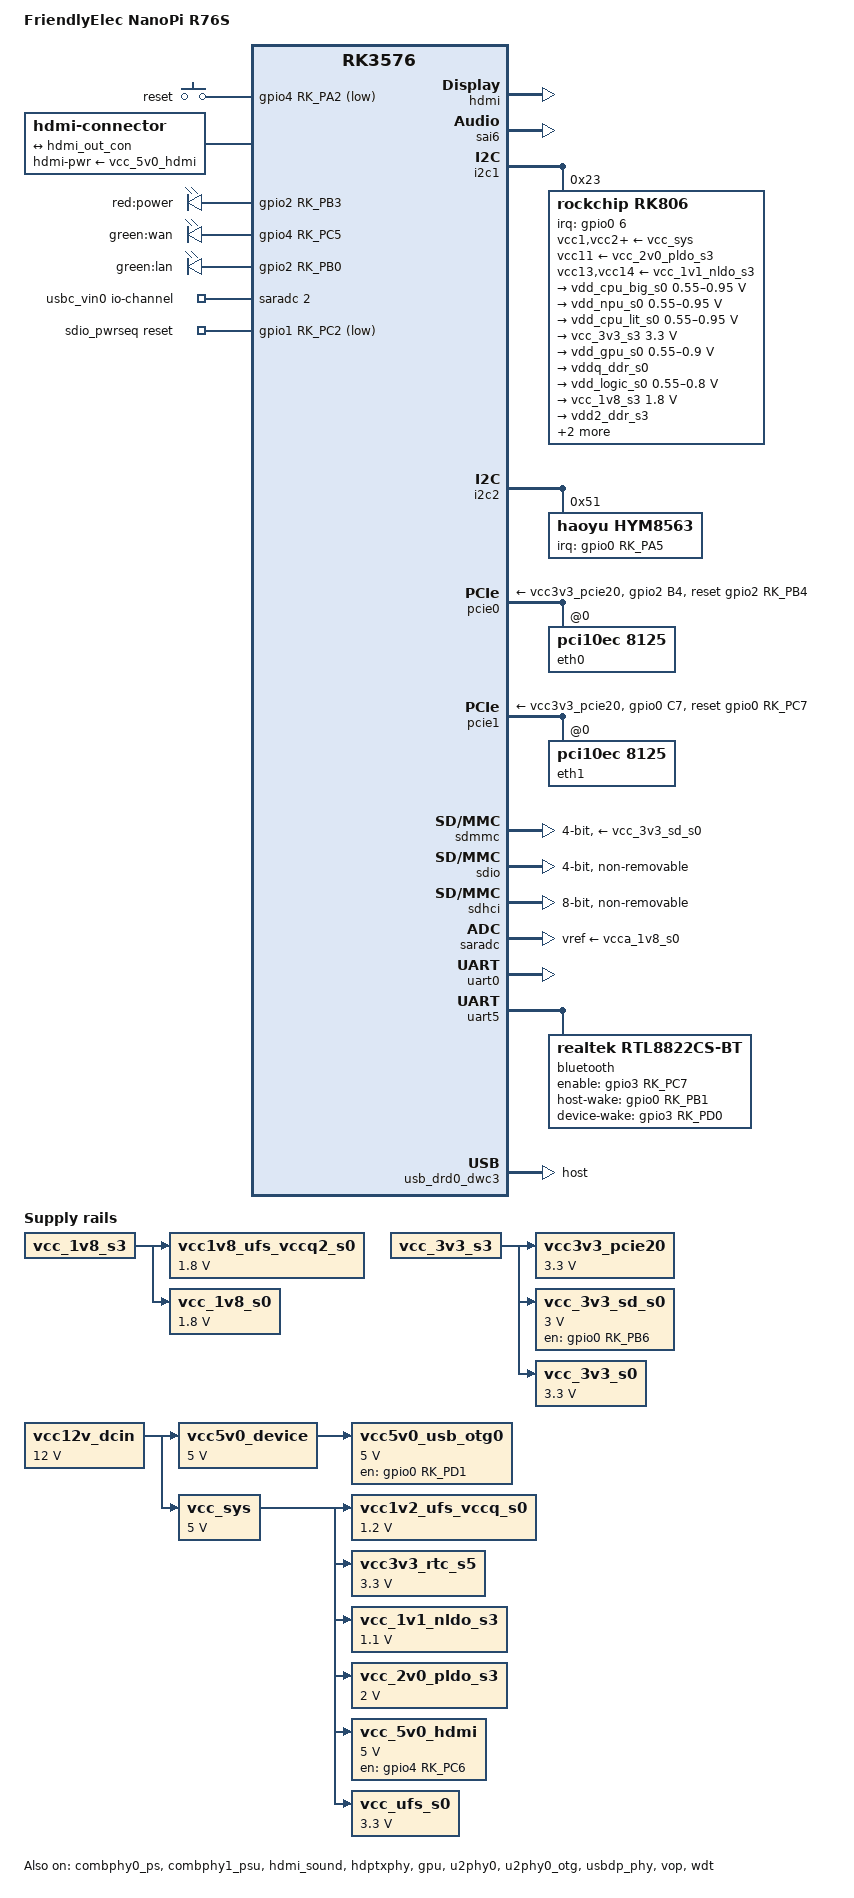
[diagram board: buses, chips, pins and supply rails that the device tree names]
// SPDX-License-Identifier: (GPL-2.0+ OR MIT)

/dts-v1/;

#include <dt-bindings/gpio/gpio.h>
#include <dt-bindings/input/input.h>
#include <dt-bindings/leds/common.h>
#include <dt-bindings/pinctrl/rockchip.h>
#include <dt-bindings/soc/rockchip,vop2.h>
#include "rk3576.dtsi"

/ {
	model = "FriendlyElec NanoPi R76S";
	compatible = "friendlyarm,nanopi-r76s", "rockchip,rk3576";

	aliases {
		mmc0 = &sdhci;
		mmc1 = &sdmmc;

		led-boot = &sys_led;
		led-failsafe = &sys_led;
		led-running = &sys_led;
		led-upgrade = &sys_led;
	};

	chosen: chosen {
		stdout-path = "serial0:1500000n8";
	};

	gpio_keys: gpio-keys {
		compatible = "gpio-keys";
		pinctrl-names = "default";
		pinctrl-0 = <&reset_button_pin>;

		button@1 {
			debounce-interval = <50>;
			gpios = <&gpio4 RK_PA2 GPIO_ACTIVE_LOW>;
			label = "reset";
			linux,code = <KEY_RESTART>;
			wakeup-source;
		};
	};

	hdmi-con {
		compatible = "hdmi-connector";
		hdmi-pwr-supply = <&vcc_5v0_hdmi>;
		type = "a";

		port {
			hdmi_con_in: endpoint {
				remote-endpoint = <&hdmi_out_con>;
			};
		};
	};

	gpio-leds {
		compatible = "gpio-leds";

		sys_led: led-sys {
			gpios = <&gpio2 RK_PB3 GPIO_ACTIVE_HIGH>;
			label = "red:power";
			linux,default-trigger = "heartbeat";
			pinctrl-names = "default";
			pinctrl-0 = <&sys_led_pin>;
		};

		wan_led: led-wan {
			gpios = <&gpio4 RK_PC5 GPIO_ACTIVE_HIGH>;
			label = "green:wan";
			pinctrl-names = "default";
			pinctrl-0 = <&wan_led_pin>;
		};

		lan_led: led-lan {
			gpios = <&gpio2 RK_PB0 GPIO_ACTIVE_HIGH>;
			label = "green:lan";
			pinctrl-names = "default";
			pinctrl-0 = <&lan_led_pin>;
		};
	};

	usbc_vin0 {
		compatible = "iio-hwmon";
		io-channels = <&saradc 2>;
	};

	vcc5v0_usb_otg0: regulator-vcc5v0-usb-otg0 {
		compatible = "regulator-fixed";
		regulator-name = "vcc5v0_usb_otg0";
		regulator-min-microvolt = <5000000>;
		regulator-max-microvolt = <5000000>;
		enable-active-high;
		gpio = <&gpio0 RK_PD1 GPIO_ACTIVE_HIGH>;
		pinctrl-names = "default";
		pinctrl-0 = <&usb_otg0_pwren_h>;
		vin-supply = <&vcc5v0_device>;
	};

	vcc12v_dcin: regulator-vcc12v-dcin {
		compatible = "regulator-fixed";
		regulator-name = "vcc12v_dcin";
		regulator-always-on;
		regulator-boot-on;
		regulator-min-microvolt = <12000000>;
		regulator-max-microvolt = <12000000>;
	};

	vcc1v2_ufs_vccq_s0: regulator-vcc1v2-ufs-vccq-s0 {
		compatible = "regulator-fixed";
		regulator-name = "vcc1v2_ufs_vccq_s0";
		regulator-boot-on;
		regulator-always-on;
		regulator-min-microvolt = <1200000>;
		regulator-max-microvolt = <1200000>;
		vin-supply = <&vcc_sys>;
	};

	vcc1v8_ufs_vccq2_s0: regulator-vcc1v8-ufs-vccq2-s0 {
		compatible = "regulator-fixed";
		regulator-name = "vcc1v8_ufs_vccq2_s0";
		regulator-boot-on;
		regulator-always-on;
		regulator-min-microvolt = <1800000>;
		regulator-max-microvolt = <1800000>;
		vin-supply = <&vcc_1v8_s3>;
	};

	vcc3v3_pcie20: vcc3v3-pcie20 {
		compatible = "regulator-fixed";
		regulator-name = "vcc3v3_pcie20";
		regulator-always-on;
		regulator-boot-on;
		regulator-min-microvolt = <3300000>;
		regulator-max-microvolt = <3300000>;
		vin-supply = <&vcc_3v3_s3>;
	};

	sdio_pwrseq: sdio-pwrseq {
		compatible = "mmc-pwrseq-simple";
		clocks = <&hym8563>;
		clock-names = "ext_clock";
		pinctrl-names = "default";
		pinctrl-0 = <&wifi_reg_on>;
		post-power-on-delay-ms = <200>;
		reset-gpios = <&gpio1 RK_PC2 GPIO_ACTIVE_LOW>;
	};

	vcc3v3_rtc_s5: regulator-vcc3v3-rtc-s5 {
		compatible = "regulator-fixed";
		regulator-name = "vcc3v3_rtc_s5";
		regulator-boot-on;
		regulator-always-on;
		regulator-min-microvolt = <3300000>;
		regulator-max-microvolt = <3300000>;
		vin-supply = <&vcc_sys>;
	};

	vcc_3v3_sd_s0: regulator-vcc-3v3-sd-s0 {
		compatible = "regulator-fixed";
		enable-active-high;
		gpios = <&gpio0 RK_PB6 GPIO_ACTIVE_HIGH>;
		pinctrl-names = "default";
		pinctrl-0 = <&sd_s0_pwren>;
		regulator-boot-on;
		regulator-min-microvolt = <3000000>;
		regulator-max-microvolt = <3000000>;
		regulator-name = "vcc_3v3_sd_s0";
		vin-supply = <&vcc_3v3_s3>;

		regulator-state-mem {
			regulator-on-in-suspend;
		};
	};

	vcc5v0_device: regulator-vcc5v0-device {
		compatible = "regulator-fixed";
		regulator-name = "vcc5v0_device";
		regulator-always-on;
		regulator-boot-on;
		regulator-min-microvolt = <5000000>;
		regulator-max-microvolt = <5000000>;
		vin-supply = <&vcc12v_dcin>;
	};

	vcc_sys: regulator-vcc5v0-sys {
		compatible = "regulator-fixed";
		regulator-name = "vcc_sys";
		regulator-always-on;
		regulator-boot-on;
		regulator-min-microvolt = <5000000>;
		regulator-max-microvolt = <5000000>;
		vin-supply = <&vcc12v_dcin>;
	};

	vcc_1v1_nldo_s3: regulator-vcc-1v1-nldo-s3 {
		compatible = "regulator-fixed";
		regulator-name = "vcc_1v1_nldo_s3";
		regulator-boot-on;
		regulator-always-on;
		regulator-min-microvolt = <1100000>;
		regulator-max-microvolt = <1100000>;
		vin-supply = <&vcc_sys>;
	};

	vcc_1v8_s0: regulator-vcc-1v8-s0 {
		compatible = "regulator-fixed";
		regulator-name = "vcc_1v8_s0";
		regulator-boot-on;
		regulator-always-on;
		regulator-min-microvolt = <1800000>;
		regulator-max-microvolt = <1800000>;
		vin-supply = <&vcc_1v8_s3>;
	};

	vcc_2v0_pldo_s3: regulator-vcc-2v0-pldo-s3 {
		compatible = "regulator-fixed";
		regulator-name = "vcc_2v0_pldo_s3";
		regulator-boot-on;
		regulator-always-on;
		regulator-min-microvolt = <2000000>;
		regulator-max-microvolt = <2000000>;
		vin-supply = <&vcc_sys>;
	};

	vcc_3v3_s0: regulator-vcc-3v3-s0 {
		compatible = "regulator-fixed";
		regulator-name = "vcc_3v3_s0";
		regulator-boot-on;
		regulator-always-on;
		regulator-min-microvolt = <3300000>;
		regulator-max-microvolt = <3300000>;
		vin-supply = <&vcc_3v3_s3>;
	};

	vcc_5v0_hdmi: regulator-vcc-5v0-hdmi {
		compatible = "regulator-fixed";
		enable-active-high;
		gpios = <&gpio4 RK_PC6 GPIO_ACTIVE_HIGH>;
		pinctrl-names = "default";
		pinctrl-0 = <&hdmi_con_en>;
		regulator-min-microvolt = <5000000>;
		regulator-max-microvolt = <5000000>;
		regulator-name = "vcc_5v0_hdmi";
		vin-supply = <&vcc_sys>;

		regulator-state-mem {
			regulator-off-in-suspend;
		};
	};

	vcc_ufs_s0: regulator-vcc-ufs-s0 {
		compatible = "regulator-fixed";
		regulator-name = "vcc_ufs_s0";
		regulator-boot-on;
		regulator-always-on;
		regulator-min-microvolt = <3300000>;
		regulator-max-microvolt = <3300000>;
		vin-supply = <&vcc_sys>;
	};
};

&cpu_l0 {
	cpu-supply = <&vdd_cpu_lit_s0>;
};

&cpu_l1 {
	cpu-supply = <&vdd_cpu_lit_s0>;
};

&cpu_l2 {
	cpu-supply = <&vdd_cpu_lit_s0>;
};

&cpu_l3 {
	cpu-supply = <&vdd_cpu_lit_s0>;
};

&cpu_b0 {
	cpu-supply = <&vdd_cpu_big_s0>;
};

&cpu_b1 {
	cpu-supply = <&vdd_cpu_big_s0>;
};

&cpu_b2 {
	cpu-supply = <&vdd_cpu_big_s0>;
};

&cpu_b3 {
	cpu-supply = <&vdd_cpu_big_s0>;
};

&combphy0_ps {
	status = "okay";
};

&combphy1_psu {
	status = "okay";
};

&hdmi {
	status = "okay";
};

&hdmi_in {
	hdmi_in_vp0: endpoint {
		remote-endpoint = <&vp0_out_hdmi>;
	};
};

&hdmi_out {
	hdmi_out_con: endpoint {
		remote-endpoint = <&hdmi_con_in>;
	};
};

&hdmi_sound {
	status = "okay";
};

&hdptxphy {
	status = "okay";
};

&sai6 {
	status = "okay";
};

&gpu {
	mali-supply = <&vdd_gpu_s0>;
	status = "okay";
};

&i2c1 {
	status = "okay";

	rk806: pmic@23 {
		compatible = "rockchip,rk806";
		reg = <0x23>;
		interrupt-parent = <&gpio0>;
		interrupts = <6 IRQ_TYPE_LEVEL_LOW>;
		gpio-controller;
		#gpio-cells = <2>;
		pinctrl-names = "default";
		pinctrl-0 = <&pmic_pins>, <&rk806_dvs1_null>,
			    <&rk806_dvs2_null>, <&rk806_dvs3_null>;
		system-power-controller;

		vcc1-supply = <&vcc_sys>;
		vcc2-supply = <&vcc_sys>;
		vcc3-supply = <&vcc_sys>;
		vcc4-supply = <&vcc_sys>;
		vcc5-supply = <&vcc_sys>;
		vcc6-supply = <&vcc_sys>;
		vcc7-supply = <&vcc_sys>;
		vcc8-supply = <&vcc_sys>;
		vcc9-supply = <&vcc_sys>;
		vcc10-supply = <&vcc_sys>;
		vcc11-supply = <&vcc_2v0_pldo_s3>;
		vcc12-supply = <&vcc_sys>;
		vcc13-supply = <&vcc_1v1_nldo_s3>;
		vcc14-supply = <&vcc_1v1_nldo_s3>;
		vcca-supply = <&vcc_sys>;

		rk806_dvs1_null: dvs1-null-pins {
			pins = "gpio_pwrctrl1";
			function = "pin_fun0";
		};

		rk806_dvs2_null: dvs2-null-pins {
			pins = "gpio_pwrctrl2";
			function = "pin_fun0";
		};

		rk806_dvs3_null: dvs3-null-pins {
			pins = "gpio_pwrctrl3";
			function = "pin_fun0";
		};

		rk806_dvs1_slp: dvs1-slp-pins {
			pins = "gpio_pwrctrl1";
			function = "pin_fun1";
		};

		rk806_dvs1_pwrdn: dvs1-pwrdn-pins {
			pins = "gpio_pwrctrl1";
			function = "pin_fun2";
		};

		rk806_dvs1_rst: dvs1-rst-pins {
			pins = "gpio_pwrctrl1";
			function = "pin_fun3";
		};

		rk806_dvs2_slp: dvs2-slp-pins {
			pins = "gpio_pwrctrl2";
			function = "pin_fun1";
		};

		rk806_dvs2_pwrdn: dvs2-pwrdn-pins {
			pins = "gpio_pwrctrl2";
			function = "pin_fun2";
		};

		rk806_dvs2_rst: dvs2-rst-pins {
			pins = "gpio_pwrctrl2";
			function = "pin_fun3";
		};

		rk806_dvs2_dvs: dvs2-dvs-pins {
			pins = "gpio_pwrctrl2";
			function = "pin_fun4";
		};

		rk806_dvs2_gpio: dvs2-gpio-pins {
			pins = "gpio_pwrctrl2";
			function = "pin_fun5";
		};

		rk806_dvs3_slp: dvs3-slp-pins {
			pins = "gpio_pwrctrl3";
			function = "pin_fun1";
		};

		rk806_dvs3_pwrdn: dvs3-pwrdn-pins {
			pins = "gpio_pwrctrl3";
			function = "pin_fun2";
		};

		rk806_dvs3_rst: dvs3-rst-pins {
			pins = "gpio_pwrctrl3";
			function = "pin_fun3";
		};

		rk806_dvs3_dvs: dvs3-dvs-pins {
			pins = "gpio_pwrctrl3";
			function = "pin_fun4";
		};

		rk806_dvs3_gpio: dvs3-gpio-pins {
			pins = "gpio_pwrctrl3";
			function = "pin_fun5";
		};

		regulators {
			vdd_cpu_big_s0: dcdc-reg1 {
				regulator-always-on;
				regulator-boot-on;
				regulator-min-microvolt = <550000>;
				regulator-max-microvolt = <950000>;
				regulator-ramp-delay = <12500>;
				regulator-name = "vdd_cpu_big_s0";
				regulator-enable-ramp-delay = <400>;

				regulator-state-mem {
					regulator-off-in-suspend;
				};
			};

			vdd_npu_s0: dcdc-reg2 {
				regulator-boot-on;
				regulator-min-microvolt = <550000>;
				regulator-max-microvolt = <950000>;
				regulator-ramp-delay = <12500>;
				regulator-name = "vdd_npu_s0";
				regulator-enable-ramp-delay = <400>;

				regulator-state-mem {
					regulator-off-in-suspend;
				};
			};

			vdd_cpu_lit_s0: dcdc-reg3 {
				regulator-always-on;
				regulator-boot-on;
				regulator-min-microvolt = <550000>;
				regulator-max-microvolt = <950000>;
				regulator-ramp-delay = <12500>;
				regulator-name = "vdd_cpu_lit_s0";

				regulator-state-mem {
					regulator-off-in-suspend;
					regulator-suspend-microvolt = <750000>;
				};
			};

			vcc_3v3_s3: dcdc-reg4 {
				regulator-always-on;
				regulator-boot-on;
				regulator-min-microvolt = <3300000>;
				regulator-max-microvolt = <3300000>;
				regulator-name = "vcc_3v3_s3";

				regulator-state-mem {
					regulator-on-in-suspend;
					regulator-suspend-microvolt = <3300000>;
				};
			};

			vdd_gpu_s0: dcdc-reg5 {
				regulator-boot-on;
				regulator-min-microvolt = <550000>;
				regulator-max-microvolt = <900000>;
				regulator-ramp-delay = <12500>;
				regulator-name = "vdd_gpu_s0";
				regulator-enable-ramp-delay = <400>;

				regulator-state-mem {
					regulator-off-in-suspend;
					regulator-suspend-microvolt = <850000>;
				};
			};

			vddq_ddr_s0: dcdc-reg6 {
				regulator-always-on;
				regulator-boot-on;
				regulator-name = "vddq_ddr_s0";

				regulator-state-mem {
					regulator-off-in-suspend;
				};
			};

			vdd_logic_s0: dcdc-reg7 {
				regulator-always-on;
				regulator-boot-on;
				regulator-min-microvolt = <550000>;
				regulator-max-microvolt = <800000>;
				regulator-name = "vdd_logic_s0";

				regulator-state-mem {
					regulator-off-in-suspend;
				};
			};

			vcc_1v8_s3: dcdc-reg8 {
				regulator-always-on;
				regulator-boot-on;
				regulator-min-microvolt = <1800000>;
				regulator-max-microvolt = <1800000>;
				regulator-name = "vcc_1v8_s3";

				regulator-state-mem {
					regulator-on-in-suspend;
					regulator-suspend-microvolt = <1800000>;
				};
			};

			vdd2_ddr_s3: dcdc-reg9 {
				regulator-always-on;
				regulator-boot-on;
				regulator-name = "vdd2_ddr_s3";

				regulator-state-mem {
					regulator-on-in-suspend;
				};
			};

			vdd_ddr_s0: dcdc-reg10 {
				regulator-always-on;
				regulator-boot-on;
				regulator-min-microvolt = <550000>;
				regulator-max-microvolt = <1200000>;
				regulator-name = "vdd_ddr_s0";

				regulator-state-mem {
					regulator-off-in-suspend;
				};
			};

			vcca_1v8_s0: pldo-reg1 {
				regulator-always-on;
				regulator-boot-on;
				regulator-min-microvolt = <1800000>;
				regulator-max-microvolt = <1800000>;
				regulator-name = "vcca_1v8_s0";

				regulator-state-mem {
					regulator-off-in-suspend;
				};
			};

			vcca1v8_pldo2_s0: pldo-reg2 {
				regulator-always-on;
				regulator-boot-on;
				regulator-min-microvolt = <1800000>;
				regulator-max-microvolt = <1800000>;
				regulator-name = "vcca1v8_pldo2_s0";

				regulator-state-mem {
					regulator-off-in-suspend;
				};
			};

			vdda_1v2_s0: pldo-reg3 {
				regulator-always-on;
				regulator-boot-on;
				regulator-min-microvolt = <1200000>;
				regulator-max-microvolt = <1200000>;
				regulator-name = "vdda_1v2_s0";

				regulator-state-mem {
					regulator-off-in-suspend;
				};
			};

			vcca_3v3_s0: pldo-reg4 {
				regulator-always-on;
				regulator-boot-on;
				regulator-min-microvolt = <3300000>;
				regulator-max-microvolt = <3300000>;
				regulator-name = "vcca_3v3_s0";

				regulator-state-mem {
					regulator-off-in-suspend;
				};
			};

			vccio_sd_s0: pldo-reg5 {
				regulator-always-on;
				regulator-boot-on;
				regulator-min-microvolt = <1800000>;
				regulator-max-microvolt = <3300000>;
				regulator-name = "vccio_sd_s0";

				regulator-state-mem {
					regulator-off-in-suspend;
				};
			};

			vcca1v8_pldo6_s3: pldo-reg6 {
				regulator-always-on;
				regulator-boot-on;
				regulator-min-microvolt = <1800000>;
				regulator-max-microvolt = <1800000>;
				regulator-name = "vcca1v8_pldo6_s3";

				regulator-state-mem {
					regulator-on-in-suspend;
					regulator-suspend-microvolt = <1800000>;
				};
			};

			vdd_0v75_s3: nldo-reg1 {
				regulator-always-on;
				regulator-boot-on;
				regulator-min-microvolt = <550000>;
				regulator-max-microvolt = <750000>;
				regulator-name = "vdd_0v75_s3";

				regulator-state-mem {
					regulator-on-in-suspend;
					regulator-suspend-microvolt = <750000>;
				};
			};

			vdda_ddr_pll_s0: nldo-reg2 {
				regulator-always-on;
				regulator-boot-on;
				regulator-min-microvolt = <850000>;
				regulator-max-microvolt = <850000>;
				regulator-name = "vdda_ddr_pll_s0";

				regulator-state-mem {
					regulator-off-in-suspend;
				};
			};

			vdda0v75_hdmi_s0: nldo-reg3 {
				regulator-boot-on;
				regulator-min-microvolt = <837500>;
				regulator-max-microvolt = <837500>;
				regulator-name = "vdda0v75_hdmi_s0";

				regulator-state-mem {
					regulator-off-in-suspend;
				};
			};

			vdda_0v85_s0: nldo-reg4 {
				regulator-always-on;
				regulator-boot-on;
				regulator-min-microvolt = <850000>;
				regulator-max-microvolt = <850000>;
				regulator-name = "vdda_0v85_s0";

				regulator-state-mem {
					regulator-off-in-suspend;
				};
			};

			vdda_0v75_s0: nldo-reg5 {
				regulator-always-on;
				regulator-boot-on;
				regulator-min-microvolt = <750000>;
				regulator-max-microvolt = <750000>;
				regulator-name = "vdda_0v75_s0";

				regulator-state-mem {
					regulator-off-in-suspend;
				};
			};
		};
	};
};

&i2c2 {
	status = "okay";

	hym8563: rtc@51 {
		compatible = "haoyu,hym8563";
		reg = <0x51>;
		#clock-cells = <0>;
		clock-output-names = "hym8563";
		pinctrl-names = "default";
		pinctrl-0 = <&rtc_int_l>;
		interrupt-parent = <&gpio0>;
		interrupts = <RK_PA5 IRQ_TYPE_LEVEL_LOW>;
		wakeup-source;
	};
};

&pcie0 {
	pinctrl-names = "default";
	pinctrl-0 = <&pcie0_reset>;
	reset-gpios = <&gpio2 RK_PB4 GPIO_ACTIVE_HIGH>;
	vpcie3v3-supply = <&vcc3v3_pcie20>;
	status = "okay";

	pcie@0,0 {
		reg = <0x00000000 0 0 0 0>;
		#address-cells = <3>;
		#size-cells = <2>;

		rtl8125_1: pcie@1,0 {
			compatible = "pci10ec,8125";
			reg = <0x000000 0 0 0 0>;

			realtek,led-data = <0x0 0x0 0x2b 0x200>;
			label = "eth0";
		};
	};
};

&pcie1 {
	pinctrl-names = "default";
	pinctrl-0 = <&pcie1_reset>;
	reset-gpios = <&gpio0 RK_PC7 GPIO_ACTIVE_HIGH>;
	vpcie3v3-supply = <&vcc3v3_pcie20>;
	status = "okay";

	pcie@0,0 {
		reg = <0x00100000 0 0 0 0>;
		#address-cells = <3>;
		#size-cells = <2>;

		rtl8125_2: pcie@10,0 {
			compatible = "pci10ec,8125";
			reg = <0x000000 0 0 0 0>;

			realtek,led-data = <0x0 0x0 0x2b 0x200>;
			label = "eth1";
		};
	};
};

&pinctrl {
	gpio-key {
		reset_button_pin: reset-button-pin {
			rockchip,pins = <4 RK_PA2 RK_FUNC_GPIO &pcfg_pull_up>;
		};
	};

	gpio-leds {
		sys_led_pin: sys-led-pin {
			rockchip,pins = <2 RK_PB3 RK_FUNC_GPIO &pcfg_pull_none>;
		};

		wan_led_pin: wan-led-pin {
			rockchip,pins = <4 RK_PC5 RK_FUNC_GPIO &pcfg_pull_none>;
		};

		lan_led_pin: lan-led-pin {
			rockchip,pins = <2 RK_PB0 RK_FUNC_GPIO &pcfg_pull_none>;
		};
	};

	usb {
		usb3_host_pwren_h: usb3-host-pwren-h {
			rockchip,pins = <0 RK_PC7 RK_FUNC_GPIO &pcfg_pull_none>;
		};

		usb_otg0_pwren_h: usb-otg0-pwren-h {
			rockchip,pins = <0 RK_PD1 RK_FUNC_GPIO &pcfg_pull_none>;
		};
	};

	pcie {
		pcie0_reset: pcie0-reset {
			rockchip,pins = <2 RK_PB4 RK_FUNC_GPIO &pcfg_pull_up>;
		};

		pcie1_reset: pcie1-reset {
			rockchip,pins = <0 RK_PC7 RK_FUNC_GPIO &pcfg_pull_up>;
		};
	};

	hym8563 {
		rtc_int_l: rtc-int-l {
			rockchip,pins = <0 RK_PA5 RK_FUNC_GPIO &pcfg_pull_up>;
		};
	};

	sdmmc {
		sd_s0_pwren: sd-s0-pwren {
			rockchip,pins = <0 RK_PB6 RK_FUNC_GPIO &pcfg_pull_up>;
		};
	};

	hdmi {
		hdmi_con_en: hdmi-con-en {
			rockchip,pins = <4 RK_PC6 RK_FUNC_GPIO &pcfg_pull_none>;
		};
	};

	wireless-wlan {
		wifi_wake_host: wifi-wake-host {
			rockchip,pins = <0 RK_PB0 RK_FUNC_GPIO &pcfg_pull_down>;
		};

		wifi_reg_on: wifi-reg-on {
			rockchip,pins = <1 RK_PC2 RK_FUNC_GPIO &pcfg_pull_none>;
		};
	};

	wireless-bluetooth {
		bt_reg_on: bt-reg-on {
			rockchip,pins = <3 RK_PC7 RK_FUNC_GPIO &pcfg_pull_up>;
		};

		host_wake_bt: host-wake-bt {
			rockchip,pins = <3 RK_PD0 RK_FUNC_GPIO &pcfg_pull_up>;
		};

		bt_wake_host: bt-wake-host {
			rockchip,pins = <0 RK_PB1 RK_FUNC_GPIO &pcfg_pull_down>;
		};
	};
};

&sdmmc {
	max-frequency = <200000000>;
	no-sdio;
	no-mmc;
	bus-width = <4>;
	cap-mmc-highspeed;
	cap-sd-highspeed;
	disable-wp;
	sd-uhs-sdr104;
	vmmc-supply = <&vcc_3v3_sd_s0>;
	vqmmc-supply = <&vccio_sd_s0>;
	pinctrl-names = "default";
	pinctrl-0 = <&sdmmc0_clk &sdmmc0_cmd &sdmmc0_det &sdmmc0_bus4>;
	status = "okay";
};

&sdio {
	max-frequency = <200000000>;
	no-sd;
	no-mmc;
	bus-width = <4>;
	disable-wp;
	cap-sd-highspeed;
	cap-sdio-irq;
	keep-power-in-suspend;
	mmc-pwrseq = <&sdio_pwrseq>;
	non-removable;
	pinctrl-names = "default";
	pinctrl-0 = <&sdmmc1m0_bus4 &sdmmc1m0_clk &sdmmc1m0_cmd>;
	sd-uhs-sdr104;
	wakeup-source;
	status = "okay";
};

&sdhci {
	bus-width = <8>;
	no-sdio;
	no-sd;
	non-removable;
	max-frequency = <200000000>;
	mmc-hs400-1_8v;
	mmc-hs400-enhanced-strobe;
	full-pwr-cycle-in-suspend;
	status = "okay";
};

&saradc {
	vref-supply = <&vcca_1v8_s0>;
	status = "okay";
};

&u2phy0 {
	status = "okay";
};

&u2phy0_otg {
	phy-supply = <&vcc5v0_usb_otg0>;
	status = "okay";
};

&uart0 {
	status = "okay";
};

&uart5 {
	pinctrl-names = "default";
	pinctrl-0 = <&uart5m0_xfer &uart5m0_ctsn &uart5m0_rtsn>;
	status = "okay";

	bluetooth {
		compatible = "realtek,rtl8822cs-bt";
		enable-gpios = <&gpio3 RK_PC7 GPIO_ACTIVE_HIGH>;
		host-wake-gpios = <&gpio0 RK_PB1 GPIO_ACTIVE_HIGH>;
		device-wake-gpios = <&gpio3 RK_PD0 GPIO_ACTIVE_HIGH>;
	};
};

&usbdp_phy {
	rockchip,dp-lane-mux = <2 3>;
	status = "okay";
};

&usb_drd0_dwc3 {
	dr_mode = "host";
	status = "okay";
};

&vop {
	status = "okay";
};

&vop_mmu {
	status = "okay";
};

&vp0 {
	vp0_out_hdmi: endpoint@ROCKCHIP_VOP2_EP_HDMI0 {
		reg = <ROCKCHIP_VOP2_EP_HDMI0>;
		remote-endpoint = <&hdmi_in_vp0>;
	};
};

&wdt {
	status= "okay";
};
